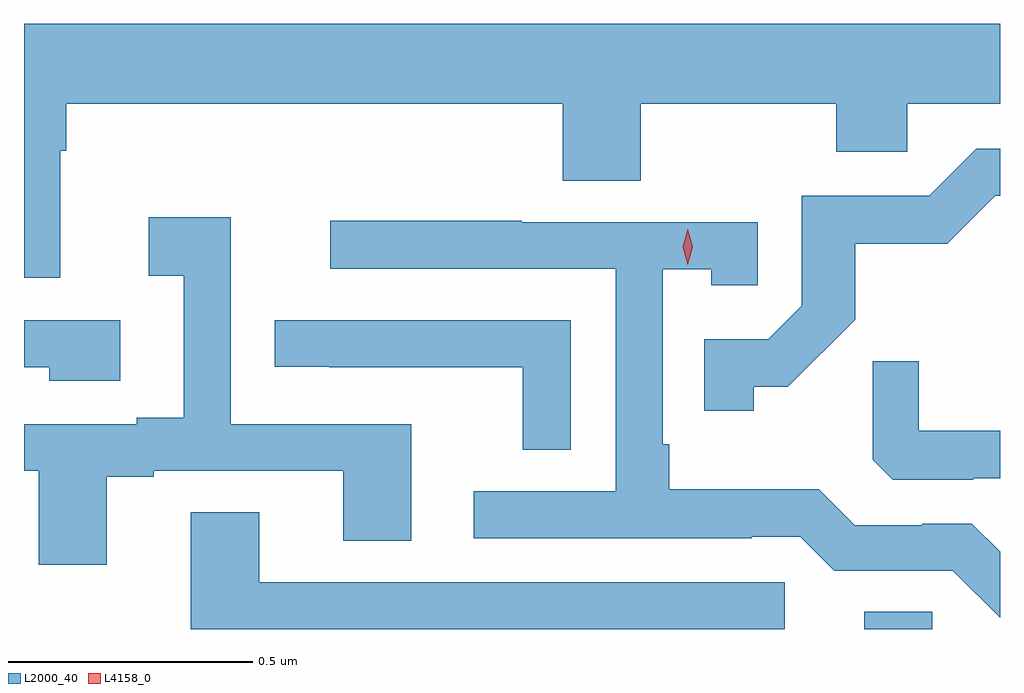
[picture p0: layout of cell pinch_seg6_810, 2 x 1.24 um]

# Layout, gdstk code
import gdstk
lib = gdstk.Library(unit=1e-6, precision=1e-09)
def R(c, l, rs):  # rectangles x0, y0, x1, y1
    for r in rs: c.add(gdstk.rectangle(r[:2], r[2:], *l))
def P(c, l, *ps):  # polygons
    for p in ps: c.add(gdstk.Polygon(p, *l))
L2000_40 = (2000, 40)
L4158_0 = (4158, 0)

pinch_seg6_810 = lib.new_cell('pinch_seg6_810')
R(pinch_seg6_810, L2000_40, [(346.793,970.236,346.932,970.271)])
P(pinch_seg6_810, L2000_40, [(345.145,971.216),(345.158,971.216),(345.158,971.312),(346.175,971.312),(346.175,971.155),(346.335,971.155),(346.335,971.312),(346.735,971.312),(346.735,971.214),(346.881,971.214),(346.881,971.312),(347.071,971.312),(347.071,971.476),(345.071,971.476),(345.071,970.956),(345.145,970.956)],
  [(346.566,970.733),(346.636,970.733),(346.774,970.87),(346.774,971.026),(346.963,971.026),(347.061,971.124),(347.071,971.124),(347.071,971.22),(347.022,971.22),(346.926,971.124),(346.665,971.124),(346.665,970.899),(346.596,970.83),(346.465,970.83),(346.465,970.683),(346.566,970.683)],
  [(345.241,970.548),(345.337,970.548),(345.337,970.56),(345.725,970.56),(345.725,970.417),(345.865,970.417),(345.865,970.656),(345.495,970.656),(345.495,971.08),(345.327,971.08),(345.327,970.96),(345.398,970.96),(345.398,970.669),(345.302,970.669),(345.302,970.656),(345.071,970.656),(345.071,970.56),(345.101,970.56),(345.101,970.368),(345.241,970.368)],
  [(347.071,970.394),(347.013,970.452),(346.912,970.452),(346.912,970.449),(346.773,970.449),(346.7,970.522),(346.393,970.522),(346.393,970.615),(346.38,970.615),(346.38,970.973),(346.479,970.973),(346.479,970.941),(346.575,970.941),(346.575,971.07),(346.091,971.07),(346.091,971.073),(345.699,971.073),(345.699,970.974),(346.284,970.974),(346.284,970.518),(345.993,970.518),(345.993,970.422),(346.562,970.422),(346.562,970.425),(346.662,970.425),(346.731,970.356),(346.974,970.356),(347.071,970.259)],
  [(345.268,970.869),(345.071,970.869),(345.071,970.773),(345.123,970.773),(345.123,970.745),(345.268,970.745)],
  [(346.191,970.869),(345.585,970.869),(345.585,970.774),(345.697,970.774),(345.697,970.773),(346.093,970.773),(346.093,970.603),(346.191,970.603)],
  [(347.016,970.545),(347.071,970.545),(347.071,970.642),(346.904,970.642),(346.904,970.785),(346.81,970.785),(346.81,970.583),(346.851,970.542),(347.016,970.542)],
  [(346.63,970.332),(345.553,970.332),(345.553,970.475),(345.413,970.475),(345.413,970.236),(346.63,970.236)])
P(pinch_seg6_810, L4158_0, [(346.431,970.983),(346.431,970.983),(346.421,971.019),(346.431,971.055),(346.431,971.055),(346.431,971.055),(346.441,971.019),(346.431,970.983)])

lib.write_gds('pinch_seg6_810.gds')
